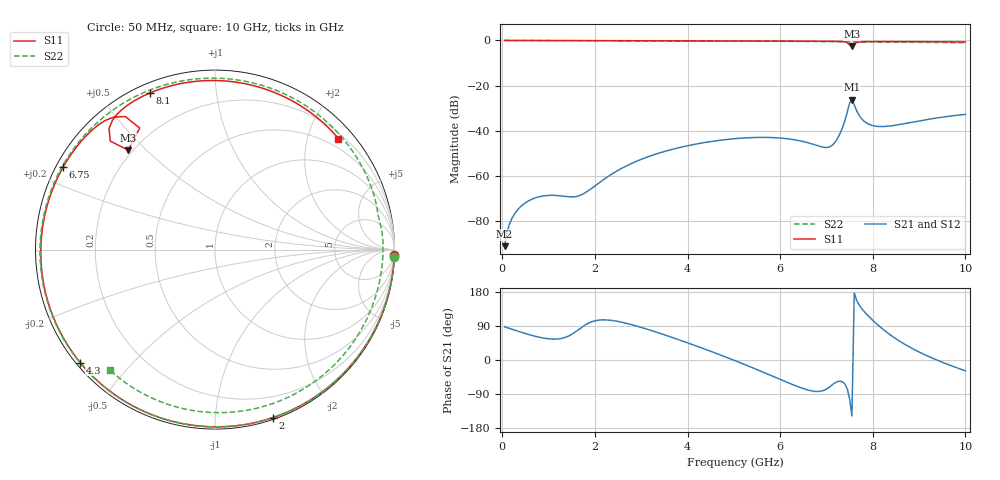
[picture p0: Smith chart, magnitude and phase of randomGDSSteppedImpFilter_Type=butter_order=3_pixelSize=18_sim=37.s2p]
! freq	dB(S11)	phase(S11)	dB(S12)	phase(S12)
!  dB(S21)	phase(S21)	dB(S22)	phase(S22)
!S-par simulation data
#  GHz  S  DB  R 50
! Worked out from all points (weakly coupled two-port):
!   200 points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, 50 MHz to 10 GHz, reference 50 ohm
!   highest |S21| = -26.15 dB at 7.55 GHz (marker M1); lowest = -91.0 dB at 50 MHz (marker M2)
!   lowest |S11| = -2.7 dB at 7.55 GHz (marker M3), VSWR 6.55, Z = 9.16 + j22.1 ohm
!   |S11| at or under -10 dB: nowhere
!   |S22| runs from -1.0 to 0.0 dB; largest |S21 - S12| = 0
!   S11 on the Smith chart (normalised r, x): 50 MHz: 0, -61; 2 GHz: 0.01, -1.40; 4.3 GHz: 0.01, -0.36; 6.75 GHz: 0.02, +0.25; 8.1 GHz: 0.04, +0.67; 10 GHz: 0.30, +2.58
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0.05  -0.00 -1.9  -90.99 87.6  -90.99 87.6  -0.00 -2.4
0.15  -0.01 -5.6  -81.51 83.6  -81.51 83.6  -0.01 -7.2
0.7  -0.03 -25.8  -69.73 62.9  -69.73 62.9  -0.04 -33.1
1.75  -0.08 -62.7  -67.85 89.4  -67.85 89.4  -0.10 -79.9
2  -0.09 -71.1  -64.33 103.3  -64.33 103.3  -0.11 -90.4
2.65  -0.11 -91.9  -55.79 97.7  -55.79 97.7  -0.14 -116.7
3.4  -0.14 -114.5  -49.72 70.6  -49.72 70.6  -0.17 -145.7
4.3  -0.18 -140.0  -45.38 32.1  -45.38 32.1  -0.22 179.4
5.05  -0.22 -160.6  -43.39 -2.9  -43.39 -2.9  -0.28 148.3
5.95  -0.27 174.6  -43.09 -48.5  -43.09 -48.5  -0.37 105.3
6.7  -0.32 153.0  -45.83 -82.0  -45.83 -82.0  -0.45 62.8
6.75  -0.33 151.5  -46.16 -82.8  -46.16 -82.8  -0.46 59.7
7.15  -0.38 138.6  -45.88 -63.1  -45.88 -63.1  -0.52 34.5
7.3  -0.44 132.7  -40.85 -56.0  -40.85 -56.0  -0.54 24.8
7.45  -0.97 124.0  -31.67 -76.3  -31.67 -76.3  -0.60 15.0
7.55  -2.67 131.1  -26.15 -147.8  -26.15 -147.8  -0.62 9.0
7.6  -1.51 134.0  -28.46 176.9  -28.46 176.9  -0.57 5.7
7.75  -0.62 125.9  -34.43 137.4  -34.43 137.4  -0.58 -4.4
8.1  -0.49 112.4  -38.01 93.5  -38.01 93.5  -0.64 -27.1
8.35  -0.49 103.6  -37.88 68.8  -37.88 68.8  -0.68 -42.8
9.1  -0.55 76.6  -35.22 15.2  -35.22 15.2  -0.82 -86.2
10  -0.68 42.0  -32.70 -28.4  -32.70 -28.4  -1.01 -131.0
